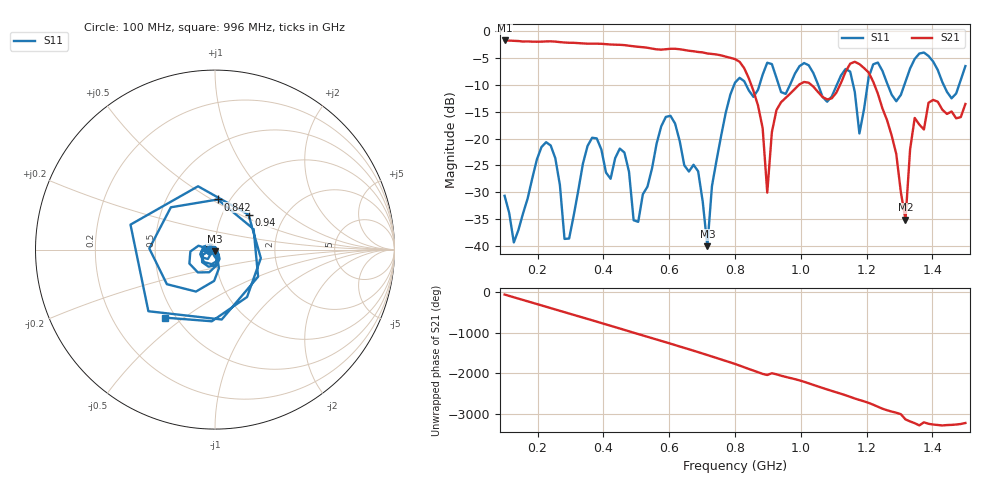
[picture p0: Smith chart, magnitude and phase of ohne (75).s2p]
! NanoVNA-App
! Date: 2025-09-26 09:55:59
! Start: 100MHz Stop: 1,5GHz Points: 101
! S-Parameter data: F S11 S21 S12 S22
# Hz S RI R 50
!  Frequency  S11_Real  S11_Imag  S21_Real  S21_Imag  S12_Real  S12_Imag  S22_Real  S22_Imag
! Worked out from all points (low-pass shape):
!   101 points, 100 MHz to 1.5 GHz, reference 50 ohm
!   highest |S21| = -1.79 dB at 100 MHz (marker M1); lowest = -35.1 dB at 1.318 GHz (marker M2)
!   |S21| within 3 dB of the highest: start of sweep to 771.5 MHz
!   lowest |S11| = -40.0 dB at 716 MHz (marker M3), VSWR 1.02, Z = 49.8 - j0.984 ohm
!   |S11| at or under -10 dB: start of sweep to 797.6 MHz; 833.3 MHz to 874.7 MHz (41.45 MHz wide, 4.85 % of centre); 1.052 GHz to 1.11 GHz (57.21 MHz wide, 5.29 % of centre)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
!   S12 and S22 are empty: the file has one direction only
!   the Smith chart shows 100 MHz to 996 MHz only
!   S11 on the Smith chart (normalised r, x): 100 MHz: 0.94, -0.01; 842 MHz: 0.88, +0.53; 940 MHz: 1.33, +0.56; 996 MHz: 0.44, -0.43
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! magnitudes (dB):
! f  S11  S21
! 100 MHz  -30.6  -1.8
! 128 MHz  -39.3  -1.9
! 226 MHz  -20.7  -2.0
! 296 MHz  -38.6  -2.2
! 338 MHz  -24.7  -2.3
! 464 MHz  -22.6  -2.7
! 506 MHz  -35.5  -3.0
! 576 MHz  -17.7  -3.5
! 688 MHz  -26.1  -3.9
! 716 MHz  -40.0  -4.2
! 800 MHz  -9.6  -5.2
! 842 MHz  -11.1  -8.8
! 898 MHz  -5.9  -30.0
! 940 MHz  -11.4  -13.3
! 996 MHz  -6.6  -9.9
! 1.038 GHz  -7.8  -10.4
! 1.178 GHz  -19.1  -6.2
! 1.22 GHz  -6.2  -9.5
! 1.276 GHz  -11.9  -19.4
! 1.318 GHz  -9.4  -35.1
! 1.346 GHz  -5.2  -16.2
! 1.5 GHz  -6.5  -13.6
